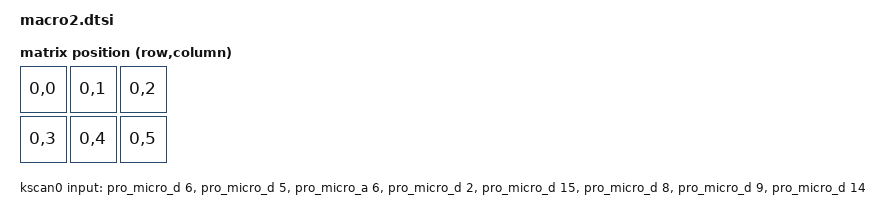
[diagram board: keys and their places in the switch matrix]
/*
 * Copyright (c) 2020 Pete Johanson
 *
 * SPDX-License-Identifier: MIT
 */
 #include <dt-bindings/zmk/matrix-transform.h>
 
/ {
	chosen {
		zmk,kscan = &kscan0;
		zmk,matrix_transform = &default_transform;
	};
		
	default_transform: keymap_transform_0 {
	compatible = "zmk,matrix-transform";
        columns = <8>;
        rows = <1>;
		map = <
RC(0,0) RC(0,1) RC(0,2) 
RC(0,3) RC(0,4) RC(0,5) 
		
>;
	};	
	
	kscan0: kscan {
		compatible = "zmk,kscan-gpio-direct";
		label = "KSCAN";
	};

};


		&kscan0 {
		input-gpios
	    = <&pro_micro_d 6 (GPIO_ACTIVE_LOW | GPIO_PULL_UP)>//D7
            , <&pro_micro_d 5 (GPIO_ACTIVE_LOW | GPIO_PULL_UP)>//C6
            , <&pro_micro_a 6 (GPIO_ACTIVE_LOW | GPIO_PULL_UP)>//D4
            , <&pro_micro_d 2 (GPIO_ACTIVE_LOW | GPIO_PULL_UP)>//D1
            , <&pro_micro_d 15 (GPIO_ACTIVE_LOW | GPIO_PULL_UP)>//B1
            , <&pro_micro_d 8 (GPIO_ACTIVE_LOW | GPIO_PULL_UP)>//B4
            , <&pro_micro_d 9 (GPIO_ACTIVE_LOW | GPIO_PULL_UP)>//B5
            , <&pro_micro_d 14 (GPIO_ACTIVE_LOW | GPIO_PULL_UP)>//B3
          
		;
};
      
